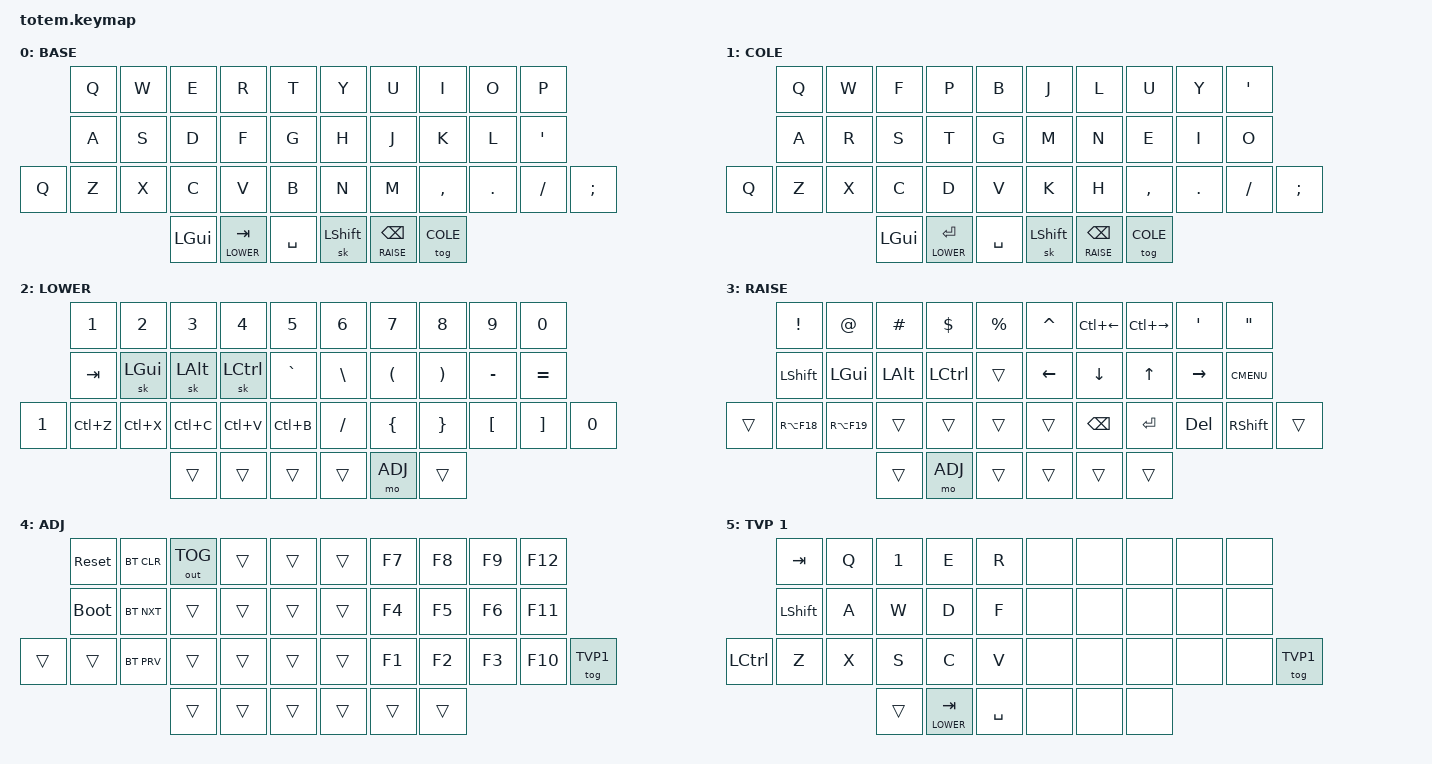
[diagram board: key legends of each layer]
//
//                                                        ▀▀▀▀▀     ▀▀▀▀▀          ▀▀█▀▀
//                                                        ▄▀▀▀▄  ▄  ▄▀▀▀▄  ▄  ▄▀▀▀▄  █  ▄▀▀▀▄
//                                                        █   █  █  █   █  █  █   █  █  █   █
//                                                         ▀▀▀   █   ▀▀▀   █   ▀▀▀   ▀   ▀▀▀
//                                                               █      ▄▄▄█▄▄▄    █   █  
//                                                               ▀      █  █  █     █▄█
//                                                             ▀▀▀▀▀    █  █  █      ▀
//                                                                      ▀  ▀  ▀
//
// ▄▄▄▄▄▄▄▄▄▄▄▄▄▄▄▄▄▄▄▄▄▄▄▄▄▄▄▄▄▄▄▄▄▄▄▄▄▄▄▄▄▄▄▄▄▄▄▄▄▄▄▄▄▄▄▄▄▄▄▄▄▄▄▄▄▄▄▄▄▄▄▄▄▄▄▄▄▄▄▄▄▄▄▄▄▄▄▄▄▄▄▄▄▄▄▄▄▄▄▄▄▄▄▄▄▄▄▄▄▄▄▄▄▄▄▄▄▄▄▄▄▄▄▄▄▄▄▄▄▄▄▄▄▄▄▄▄▄▄▄▄▄▄▄▄▄▄▄▄
       

#include <behaviors.dtsi>
#include <dt-bindings/zmk/keys.h>
#include <dt-bindings/zmk/bt.h>
#include <dt-bindings/zmk/outputs.h>

#define BASE 0
#define COLE 1
#define LOWER  2
#define RAISE  3
#define ADJ  4
#define TVP1 5

&mt {
  quick-tap-ms = <100>;
  global-quick-tap;
  flavor = "tap-preferred";
  tapping-term-ms = <170>;
};

&sk {
    release-after-ms = <2000>;
    quick-release;
    ignore-modifiers;
};

/ {
     combos {
            compatible = "zmk,combos";
            combo_esc {
                timeout-ms = <50>;
                key-positions = <0 1>;
                bindings = <&kp ESC>;
            };
            combo_tvp {
                timeout-ms = <100>;
                key-positions = <11 12 13>;
                bindings = <&tog TVP1>;
            };
    };

    macros {
        gif: gif {
            label = "giphy";
            compatible = "zmk,behavior-macro";
            #binding-cells = <0>;
            bindings
                = <&macro_press &kp LSHFT>
                , <&macro_tap &kp N2>
                , <&macro_release &kp LSHFT>
                , <&macro_tap &kp G &kp I &kp F>
                ;
        };
    };

    behaviors {
      skq: sticky_key_quick_release {
        compatible = "zmk,behavior-sticky-key";
        label = "STICKY_KEY_QUICK_RELEASE";
        #binding-cells = <1>;
        bindings = <&kp>;
        release-after-ms = <1000>;
        quick-release;
        ignore-modifiers;
      };
    };

        keymap {
                compatible = "zmk,keymap";

// ▄▄▄▄▄▄▄▄▄▄▄▄▄▄▄▄▄▄▄▄▄▄▄▄▄▄▄▄▄▄▄▄▄▄▄▄▄▄▄▄▄▄▄▄▄▄▄▄▄▄▄▄▄▄▄▄▄▄▄▄▄▄▄▄▄▄▄▄▄▄▄▄▄▄▄▄▄▄▄▄▄▄▄▄▄▄▄▄▄▄▄▄▄▄▄▄▄▄▄▄▄▄▄▄▄▄▄▄▄▄▄▄▄▄▄▄▄▄▄▄▄▄▄▄▄▄▄▄▄▄▄▄▄▄▄▄▄▄▄▄▄▄▄▄▄▄▄▄▄

                base_layer {
// ┏━━━━━━━━━━━━━━━━━━━━━━━━━━━━━━━━━━━━━━━┓
label= "BASE"                              ;
// ┗━━━━━━━━━━━━━━━━━━━━━━━━━━━━━━━━━━━━━━━┛
//             ┏━━━━━━━━━━━┳━━━━━━━━━━━┳━━━━━━━━━━━┳━━━━━━━━━━━┳━━━━━━━━━━━┓   ┏━━━━━━━━━━━┳━━━━━━━━━━━┳━━━━━━━━━━━┳━━━━━━━━━━━┳━━━━━━━━━━━┓
//             ┃     Q     ┃     W     ┃     F     ┃     P     ┃     G     ┃   ┃     J     ┃     L     ┃     U     ┃     Y     ┃     ;     ┃
//             ┣━━━━━━━━━━━╋━━━━━━━━━━━╋━━━━━━━━━━━╋━━━━━━━━━━━╋━━━━━━━━━━━┫   ┣━━━━━━━━━━━╋━━━━━━━━━━━╋━━━━━━━━━━━╋━━━━━━━━━━━╋━━━━━━━━━━━┫
//             ┃     A     ┃     R     ┃     S     ┃     T     ┃     D     ┃   ┃     H     ┃     N     ┃     E     ┃     I     ┃     O     ┃
// ┏━━━━━━━━━━━╋━━━━━━━━━━━╋━━━━━━━━━━━╋━━━━━━━━━━━╋━━━━━━━━━━━╋━━━━━━━━━━━┫   ┣━━━━━━━━━━━╋━━━━━━━━━━━╋━━━━━━━━━━━╋━━━━━━━━━━━╋━━━━━━━━━━━╋━━━━━━━━━━━┓
// ┃     Q     ┃     Z     ┃     X     ┃     C     ┃     V     ┃     B     ┃   ┃     K     ┃     M     ┃     ,     ┃     .     ┃     /     ┃     ;     ┃
// ┗━━━━━━━━━━━┻━━━━━━━━━━━┻━━━━━━━━━━━╋━━━━━━━━━━━╋━━━━━━━━━━━╋━━━━━━━━━━━┫   ┣━━━━━━━━━━━╋━━━━━━━━━━━╋━━━━━━━━━━━╋━━━━━━━━━━━┻━━━━━━━━━━━┻━━━━━━━━━━━┛
//                                     ┃    DEL    ┃    TAB    ┃    SPC    ┃   ┃   ENTER   ┃           ┃   BSPC    ┃
//                                     ┗━━━━━━━━━━━┻━━━━━━━━━━━┻━━━━━━━━━━━┛   ┗━━━━━━━━━━━┻━━━━━━━━━━━┻━━━━━━━━━━━┛
 bindings = <
// ╷           ╷           ╷           ╷           ╷           ╷           ╷   ╷           ╷           ╷           ╷           ╷           ╷           ╷

                &kp Q       &kp W       &kp E       &kp R       &kp T           &kp Y       &kp U       &kp I       &kp O       &kp P
                &kp A       &kp S       &kp D       &kp F       &kp G           &kp H       &kp J       &kp K       &kp L       &kp SQT
    &kp Q       &kp Z       &kp X       &kp C       &kp V       &kp B           &kp N       &kp M       &kp COMMA   &kp DOT     &kp FSLH    &kp SEMI
                                        &kp LGUI  &lt LOWER TAB   &kp SPACE     &sk LSHFT   &lt RAISE BSPC    &tog COLE
                        >;
                };

// ▄▄▄▄▄▄▄▄▄▄▄▄▄▄▄▄▄▄▄▄▄▄▄▄▄▄▄▄▄▄▄▄▄▄▄▄▄▄▄▄▄▄▄▄▄▄▄▄▄▄▄▄▄▄▄▄▄▄▄▄▄▄▄▄▄▄▄▄▄▄▄▄▄▄▄▄▄▄▄▄▄▄▄▄▄▄▄▄▄▄▄▄▄▄▄▄▄▄▄▄▄▄▄▄▄▄▄▄▄▄▄▄▄▄▄▄▄▄▄▄▄▄▄▄▄▄▄▄▄▄▄▄▄▄▄▄▄▄▄▄▄▄▄▄▄▄▄▄▄

                cole_layer {
// ┏━━━━━━━━━━━━━━━━━━━━━━━━━━━━━━━━━━━━━━━┓
label= "COLE"                              ;
// ┗━━━━━━━━━━━━━━━━━━━━━━━━━━━━━━━━━━━━━━━┛
//             ┏━━━━━━━━━━━┳━━━━━━━━━━━┳━━━━━━━━━━━┳━━━━━━━━━━━┳━━━━━━━━━━━┓   ┏━━━━━━━━━━━┳━━━━━━━━━━━┳━━━━━━━━━━━┳━━━━━━━━━━━┳━━━━━━━━━━━┓
//             ┃     Q     ┃     W     ┃     F     ┃     P     ┃     G     ┃   ┃     J     ┃     L     ┃     U     ┃     Y     ┃     '     ┃
//             ┣━━━━━━━━━━━╋━━━━━━━━━━━╋━━━━━━━━━━━╋━━━━━━━━━━━╋━━━━━━━━━━━┫   ┣━━━━━━━━━━━╋━━━━━━━━━━━╋━━━━━━━━━━━╋━━━━━━━━━━━╋━━━━━━━━━━━┫
//             ┃     A     ┃     R     ┃     S     ┃     T     ┃     D     ┃   ┃     H     ┃     N     ┃     E     ┃     I     ┃     O     ┃
// ┏━━━━━━━━━━━╋━━━━━━━━━━━╋━━━━━━━━━━━╋━━━━━━━━━━━╋━━━━━━━━━━━╋━━━━━━━━━━━┫   ┣━━━━━━━━━━━╋━━━━━━━━━━━╋━━━━━━━━━━━╋━━━━━━━━━━━╋━━━━━━━━━━━╋━━━━━━━━━━━┓
// ┃     Q     ┃     Z     ┃     X     ┃     C     ┃     V     ┃     B     ┃   ┃     K     ┃     M     ┃     ,     ┃     .     ┃     /     ┃     ;     ┃
// ┗━━━━━━━━━━━┻━━━━━━━━━━━┻━━━━━━━━━━━╋━━━━━━━━━━━╋━━━━━━━━━━━╋━━━━━━━━━━━┫   ┣━━━━━━━━━━━╋━━━━━━━━━━━╋━━━━━━━━━━━╋━━━━━━━━━━━┻━━━━━━━━━━━┻━━━━━━━━━━━┛
//                                     ┃    DEL    ┃    TAB    ┃    SPC    ┃   ┃   ENTER   ┃           ┃   BSPC    ┃
//                                     ┗━━━━━━━━━━━┻━━━━━━━━━━━┻━━━━━━━━━━━┛   ┗━━━━━━━━━━━┻━━━━━━━━━━━┻━━━━━━━━━━━┛
 bindings = <
// ╷           ╷           ╷           ╷           ╷           ╷           ╷   ╷           ╷           ╷           ╷           ╷           ╷           ╷

                &kp Q       &kp W       &kp F       &kp P       &kp B           &kp J       &kp L       &kp U       &kp Y       &kp SQT
                &kp A       &kp R       &kp S       &kp T       &kp G           &kp M       &kp N       &kp E       &kp I       &kp O
    &kp Q       &kp Z       &kp X       &kp C       &kp D       &kp V           &kp K       &kp H       &kp COMMA   &kp DOT     &kp FSLH    &kp SEMI
                                        &kp LGUI  &lt LOWER RET &kp SPACE       &sk LSHFT   &lt RAISE BSPC    &tog COLE
                        >;
                };

// ▄▄▄▄▄▄▄▄▄▄▄▄▄▄▄▄▄▄▄▄▄▄▄▄▄▄▄▄▄▄▄▄▄▄▄▄▄▄▄▄▄▄▄▄▄▄▄▄▄▄▄▄▄▄▄▄▄▄▄▄▄▄▄▄▄▄▄▄▄▄▄▄▄▄▄▄▄▄▄▄▄▄▄▄▄▄▄▄▄▄▄▄▄▄▄▄▄▄▄▄▄▄▄▄▄▄▄▄▄▄▄▄▄▄▄▄▄▄▄▄▄▄▄▄▄▄▄▄▄▄▄▄▄▄▄▄▄▄▄▄▄▄▄▄▄▄▄▄▄


                lower_layer {
// ┏━━━━━━━━━━━━━━━━━━━━━━━━━━━━━━━━━━━━━━━┓
label= "LOWER"                              ;
// ┗━━━━━━━━━━━━━━━━━━━━━━━━━━━━━━━━━━━━━━━┛
//             ┏━━━━━━━━━━━┳━━━━━━━━━━━┳━━━━━━━━━━━┳━━━━━━━━━━━┳━━━━━━━━━━━┓   ┏━━━━━━━━━━━┳━━━━━━━━━━━┳━━━━━━━━━━━┳━━━━━━━━━━━┳━━━━━━━━━━━┓
//             ┃           ┃           ┃     UP    ┃           ┃     {     ┃   ┃     }     ┃     7     ┃     8     ┃     9     ┃     +     ┃
//             ┣━━━━━━━━━━━╋━━━━━━━━━━━╋━━━━━━━━━━━╋━━━━━━━━━━━╋━━━━━━━━━━━┫   ┣━━━━━━━━━━━╋━━━━━━━━━━━╋━━━━━━━━━━━╋━━━━━━━━━━━╋━━━━━━━━━━━┫
//             ┃   SHIFT   ┃   LEFT    ┃    DOWN   ┃   RIGHT   ┃     [     ┃   ┃     ]     ┃     4     ┃     5     ┃     6     ┃     -     ┃
// ┏━━━━━━━━━━━╋━━━━━━━━━━━╋━━━━━━━━━━━╋━━━━━━━━━━━╋━━━━━━━━━━━╋━━━━━━━━━━━┫   ┣━━━━━━━━━━━╋━━━━━━━━━━━╋━━━━━━━━━━━╋━━━━━━━━━━━╋━━━━━━━━━━━╋━━━━━━━━━━━┓
// ┃           ┃           ┃   P UP    ┃  C LOCK   ┃  P DOWN   ┃     (     ┃   ┃     )     ┃     1     ┃     2     ┃     3     ┃     *     ┃           ┃
// ┗━━━━━━━━━━━┻━━━━━━━━━━━┻━━━━━━━━━━━╋━━━━━━━━━━━╋━━━━━━━━━━━╋━━━━━━━━━━━┫   ┣━━━━━━━━━━━╋━━━━━━━━━━━╋━━━━━━━━━━━╋━━━━━━━━━━━┻━━━━━━━━━━━┻━━━━━━━━━━━┛
//                                     ┃           ┃    TAB    ┃    SPC    ┃   ┃    DEL    ┃     0     ┃           ┃
//                                     ┗━━━━━━━━━━━┻━━━━━━━━━━━┻━━━━━━━━━━━┛   ┗━━━━━━━━━━━┻━━━━━━━━━━━┻━━━━━━━━━━━┛
 bindings = <
// ╷           ╷           ╷           ╷           ╷           ╷           ╷   ╷           ╷           ╷           ╷           ╷           ╷           ╷

                &kp N1      &kp N2      &kp N3      &kp N4      &kp N5          &kp N6      &kp N7      &kp N8      &kp N9      &kp N0
                &kp TAB     &sk LGUI    &sk LALT    &sk LCTRL   &kp GRAVE       &kp BSLH    &kp LPAR    &kp RPAR    &kp MINUS   &kp EQUAL
    &kp N1      &kp LC(Z)   &kp LC(X)   &kp LC(C)   &kp LC(V)   &kp LC(B)       &kp FSLH    &kp LBRC    &kp RBRC    &kp LBKT    &kp RBKT    &kp N0      
                                        &trans      &trans      &trans          &trans      &mo ADJ     &trans      
                        >;
                };

// ▄▄▄▄▄▄▄▄▄▄▄▄▄▄▄▄▄▄▄▄▄▄▄▄▄▄▄▄▄▄▄▄▄▄▄▄▄▄▄▄▄▄▄▄▄▄▄▄▄▄▄▄▄▄▄▄▄▄▄▄▄▄▄▄▄▄▄▄▄▄▄▄▄▄▄▄▄▄▄▄▄▄▄▄▄▄▄▄▄▄▄▄▄▄▄▄▄▄▄▄▄▄▄▄▄▄▄▄▄▄▄▄▄▄▄▄▄▄▄▄▄▄▄▄▄▄▄▄▄▄▄▄▄▄▄▄▄▄▄▄▄▄▄▄▄▄▄▄▄


                raise_layer {
// ┏━━━━━━━━━━━━━━━━━━━━━━━━━━━━━━━━━━━━━━━┓
label= "RAISE"                               ;
// ┗━━━━━━━━━━━━━━━━━━━━━━━━━━━━━━━━━━━━━━━┛
//             ┏━━━━━━━━━━━┳━━━━━━━━━━━┳━━━━━━━━━━━┳━━━━━━━━━━━┳━━━━━━━━━━━┓   ┏━━━━━━━━━━━┳━━━━━━━━━━━┳━━━━━━━━━━━┳━━━━━━━━━━━┳━━━━━━━━━━━┓
//             ┃     !     ┃     @     ┃     #     ┃     $     ┃     %     ┃   ┃     ˆ     ┃     &     ┃     Ü     ┃     '     ┃     "     ┃
//             ┣━━━━━━━━━━━╋━━━━━━━━━━━╋━━━━━━━━━━━╋━━━━━━━━━━━╋━━━━━━━━━━━┫   ┣━━━━━━━━━━━╋━━━━━━━━━━━╋━━━━━━━━━━━╋━━━━━━━━━━━╋━━━━━━━━━━━┫
//             ┃     Ä     ┃           ┃    SZ     ┃           ┃           ┃   ┃   MUTE    ┃   YEN     ┃   EURO    ┃  POUND    ┃     Ö     ┃
// ┏━━━━━━━━━━━╋━━━━━━━━━━━╋━━━━━━━━━━━╋━━━━━━━━━━━╋━━━━━━━━━━━╋━━━━━━━━━━━┫   ┣━━━━━━━━━━━╋━━━━━━━━━━━╋━━━━━━━━━━━╋━━━━━━━━━━━╋━━━━━━━━━━━╋━━━━━━━━━━━┓
// ┃           ┃  EMAIL1   ┃  EMAIL2   ┃           ┃           ┃           ┃   ┃   VOL-    ┃   VOL+    ┃   LAST    ┃   NEXT    ┃     \     ┃           ┃
// ┗━━━━━━━━━━━┻━━━━━━━━━━━┻━━━━━━━━━━━╋━━━━━━━━━━━╋━━━━━━━━━━━╋━━━━━━━━━━━┫   ┣━━━━━━━━━━━╋━━━━━━━━━━━╋━━━━━━━━━━━╋━━━━━━━━━━━┻━━━━━━━━━━━┻━━━━━━━━━━━┛
//                                     ┃           ┃    GIF    ┃    ADJ    ┃   ┃           ┃           ┃           ┃
//                                     ┗━━━━━━━━━━━┻━━━━━━━━━━━┻━━━━━━━━━━━┛   ┗━━━━━━━━━━━┻━━━━━━━━━━━┻━━━━━━━━━━━┛
 bindings = <
// ╷           ╷           ╷           ╷           ╷           ╷           ╷   ╷           ╷           ╷           ╷           ╷           ╷           ╷

                &kp EXCL    &kp AT      &kp HASH    &kp DLLR    &kp PRCNT       &kp CARET   &kp LC(LEFT) &kp LC(RIGHT) &kp SQT  &kp DQT       
                &kp LSHFT   &kp LGUI    &kp LALT    &kp LCTRL   &trans          &kp LEFT    &kp DOWN    &kp UP      &kp RIGHT   &kp K_CMENU 
    &trans      &kp RA(F18) &kp RA(F19) &trans      &trans      &trans          &trans      &kp BSPC    &kp RET     &kp DELETE  &kp RSHFT   &trans         
                                        &trans      &mo ADJ     &trans          &trans      &trans    &trans      
                        >;
                };

// ▄▄▄▄▄▄▄▄▄▄▄▄▄▄▄▄▄▄▄▄▄▄▄▄▄▄▄▄▄▄▄▄▄▄▄▄▄▄▄▄▄▄▄▄▄▄▄▄▄▄▄▄▄▄▄▄▄▄▄▄▄▄▄▄▄▄▄▄▄▄▄▄▄▄▄▄▄▄▄▄▄▄▄▄▄▄▄▄▄▄▄▄▄▄▄▄▄▄▄▄▄▄▄▄▄▄▄▄▄▄▄▄▄▄▄▄▄▄▄▄▄▄▄▄▄▄▄▄▄▄▄▄▄▄▄▄▄▄▄▄▄▄▄▄▄▄▄▄▄


                adjust_layer {
// ┏━━━━━━━━━━━━━━━━━━━━━━━━━━━━━━━━━━━━━━━┓
label= "ADJ"                               ;
// ┗━━━━━━━━━━━━━━━━━━━━━━━━━━━━━━━━━━━━━━━┛
//             ┏━━━━━━━━━━━┳━━━━━━━━━━━┳━━━━━━━━━━━┳━━━━━━━━━━━┳━━━━━━━━━━━┓   ┏━━━━━━━━━━━┳━━━━━━━━━━━┳━━━━━━━━━━━┳━━━━━━━━━━━┳━━━━━━━━━━━┓
//             ┃   RESET   ┃ BT CLEAR  ┃  OUT TOG  ┃           ┃           ┃   ┃           ┃    F7     ┃    F8     ┃    F9     ┃    F12    ┃
//             ┣━━━━━━━━━━━╋━━━━━━━━━━━╋━━━━━━━━━━━╋━━━━━━━━━━━╋━━━━━━━━━━━┫   ┣━━━━━━━━━━━╋━━━━━━━━━━━╋━━━━━━━━━━━╋━━━━━━━━━━━╋━━━━━━━━━━━┫
//             ┃ BOOTLOAD  ┃ BT NEXT   ┃           ┃           ┃           ┃   ┃           ┃    F4     ┃    F5     ┃    F6     ┃    F11    ┃
// ┏━━━━━━━━━━━╋━━━━━━━━━━━╋━━━━━━━━━━━╋━━━━━━━━━━━╋━━━━━━━━━━━╋━━━━━━━━━━━┫   ┣━━━━━━━━━━━╋━━━━━━━━━━━╋━━━━━━━━━━━╋━━━━━━━━━━━╋━━━━━━━━━━━╋━━━━━━━━━━━┓
// ┃           ┃           ┃ BT PREV   ┃           ┃           ┃           ┃   ┃           ┃    F1     ┃    F2     ┃    F3     ┃    F10    ┃           ┃
// ┗━━━━━━━━━━━┻━━━━━━━━━━━┻━━━━━━━━━━━╋━━━━━━━━━━━╋━━━━━━━━━━━╋━━━━━━━━━━━┫   ┣━━━━━━━━━━━╋━━━━━━━━━━━╋━━━━━━━━━━━╋━━━━━━━━━━━┻━━━━━━━━━━━┻━━━━━━━━━━━┛
//                                     ┃           ┃           ┃           ┃   ┃           ┃           ┃           ┃
//                                     ┗━━━━━━━━━━━┻━━━━━━━━━━━┻━━━━━━━━━━━┛   ┗━━━━━━━━━━━┻━━━━━━━━━━━┻━━━━━━━━━━━┛
 bindings = <
// ╷           ╷           ╷           ╷           ╷           ╷           ╷   ╷           ╷           ╷           ╷           ╷           ╷           ╷

                &sys_reset  &bt BT_CLR &out OUT_TOG &trans      &trans          &trans      &kp F7      &kp F8      &kp F9      &kp F12
                &bootloader &bt BT_NXT  &trans      &trans      &trans          &trans      &kp F4      &kp F5      &kp F6      &kp F11  
    &trans      &trans      &bt BT_PRV  &trans      &trans      &trans          &trans      &kp F1      &kp F2      &kp F3      &kp F10     &tog TVP1         
                                        &trans      &trans      &trans          &trans      &trans      &trans      
                        >;
                };

// ▄▄▄▄▄▄▄▄▄▄▄▄▄▄▄▄▄▄▄▄▄▄▄▄▄▄▄▄▄▄▄▄▄▄▄▄▄▄▄▄▄▄▄▄▄▄▄▄▄▄▄▄▄▄▄▄▄▄▄▄▄▄▄▄▄▄▄▄▄▄▄▄▄▄▄▄▄▄▄▄▄▄▄▄▄▄▄▄▄▄▄▄▄▄▄▄▄▄▄▄▄▄▄▄▄▄▄▄▄▄▄▄▄▄▄▄▄▄▄▄▄▄▄▄▄▄▄▄▄▄▄▄▄▄▄▄▄▄▄▄▄▄▄▄▄▄▄▄▄


                tvp1_layer {
// ┏━━━━━━━━━━━━━━━━━━━━━━━━━━━━━━━━━━━━━━━┓
label= "TVP 1"                             ;
// ┗━━━━━━━━━━━━━━━━━━━━━━━━━━━━━━━━━━━━━━━┛
//             ┏━━━━━━━━━━━┳━━━━━━━━━━━┳━━━━━━━━━━━┳━━━━━━━━━━━┳━━━━━━━━━━━┓   ┏━━━━━━━━━━━┳━━━━━━━━━━━┳━━━━━━━━━━━┳━━━━━━━━━━━┳━━━━━━━━━━━┓
//             ┃ NEXT FILE ┃ MARK IN   ┃ ROTATE    ┃ MARK OUT  ┃ SHOW SNAP ┃   ┃           ┃           ┃           ┃           ┃           ┃
//             ┣━━━━━━━━━━━╋━━━━━━━━━━━╋━━━━━━━━━━━╋━━━━━━━━━━━╋━━━━━━━━━━━┫   ┣━━━━━━━━━━━╋━━━━━━━━━━━╋━━━━━━━━━━━╋━━━━━━━━━━━╋━━━━━━━━━━━┫
//             ┃ TVP II    ┃ LEFT      ┃ PAN       ┃ RIGHT     ┃ PLAY/FLIP ┃   ┃           ┃           ┃           ┃           ┃           ┃
// ┏━━━━━━━━━━━╋━━━━━━━━━━━╋━━━━━━━━━━━╋━━━━━━━━━━━╋━━━━━━━━━━━╋━━━━━━━━━━━┫   ┣━━━━━━━━━━━╋━━━━━━━━━━━╋━━━━━━━━━━━╋━━━━━━━━━━━╋━━━━━━━━━━━╋━━━━━━━━━━━┓
// ┃ FULLSCR   ┃ SHIFT     ┃ COPY      ┃ DELETE    ┃ PASTE     ┃ IMG MARK  ┃   ┃           ┃           ┃           ┃           ┃           ┃           ┃
// ┗━━━━━━━━━━━┻━━━━━━━━━━━┻━━━━━━━━━━━╋━━━━━━━━━━━╋━━━━━━━━━━━╋━━━━━━━━━━━┫   ┣━━━━━━━━━━━╋━━━━━━━━━━━╋━━━━━━━━━━━╋━━━━━━━━━━━┻━━━━━━━━━━━┻━━━━━━━━━━━┛
//                                     ┃           ┃ UNDO/SAVE ┃  SEL/MOV  ┃   ┃           ┃           ┃           ┃
//                                     ┗━━━━━━━━━━━┻━━━━━━━━━━━┻━━━━━━━━━━━┛   ┗━━━━━━━━━━━┻━━━━━━━━━━━┻━━━━━━━━━━━┛
 bindings = <
// ╷           ╷           ╷           ╷           ╷           ╷           ╷   ╷           ╷           ╷           ╷           ╷           ╷           ╷

                &kp TAB     &kp Q       &kp N1      &kp E       &kp R           &none       &none       &none       &none       &none
                &kp LSHFT   &kp A       &kp W       &kp D       &kp F           &none       &none       &none       &none       &none
    &kp LCTRL   &kp Z       &kp X       &kp S       &kp C       &kp V           &none       &none       &none       &none       &none       &tog TVP1        
                                        &trans    &lt LOWER TAB &kp SPACE       &none       &none       &none    
                        >;
                };

// ▄▄▄▄▄▄▄▄▄▄▄▄▄▄▄▄▄▄▄▄▄▄▄▄▄▄▄▄▄▄▄▄▄▄▄▄▄▄▄▄▄▄▄▄▄▄▄▄▄▄▄▄▄▄▄▄▄▄▄▄▄▄▄▄▄▄▄▄▄▄▄▄▄▄▄▄▄▄▄▄▄▄▄▄▄▄▄▄▄▄▄▄▄▄▄▄▄▄▄▄▄▄▄▄▄▄▄▄▄▄▄▄▄▄▄▄▄▄▄▄▄▄▄▄▄▄▄▄▄▄▄▄▄▄▄▄▄▄▄▄▄▄▄▄▄▄▄▄▄
        };
};
